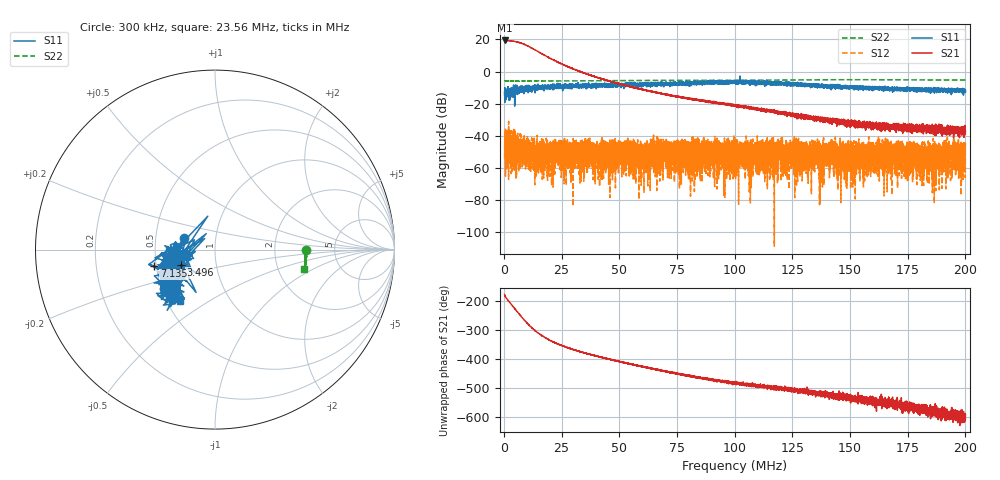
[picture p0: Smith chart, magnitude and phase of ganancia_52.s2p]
# Hz S DB R 50
! CMT, M5065, 19127446, 24.2.4/2
! Date: 11/8/2024 5:23:31 PM
! Data: Format (Calibration Info)
! Freq	S11:dB/Ang(F2)	S21:dB/Ang(F2)	S12:dB/Ang(F2)	S22:dB/Ang(F2)
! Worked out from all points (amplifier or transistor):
!   9000 points, 300 kHz to 200 MHz, reference 50 ohm
!   highest |S21| = 19.4 dB at 588.5 kHz (marker M1)
!   |S21| within 3 dB of that: start of sweep to 9.7 MHz
!   unconditionally stable (mu >= 1): start of sweep to end of sweep
!   at 33.59 MHz: K = 78.13, MAG = 1.7 dB, |S12| = -47.6 dB
!   at 100.2 MHz: K = 1627.38, MAG = -18.8 dB, |S12| = -54.0 dB
!   at 200 MHz: K = 3957.99, MAG = -35.2 dB, |S12| = -44.6 dB
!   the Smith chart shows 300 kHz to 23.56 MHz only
!   S11 on the Smith chart (normalised r, x): 300 kHz: 0.70, +0.09; 3.496 MHz: 0.67, -0.12; 7.135 MHz: 0.49, -0.10; 23.56 MHz: 0.58, -0.38
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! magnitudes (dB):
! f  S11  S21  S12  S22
! 300 kHz  -14.6  19.3  -54.2  -5.9
! 588.5 kHz  -14.4  19.4  -41.1  -5.9
! 1.365 MHz  -14.8  19.2  -50.2  -5.8
! 3.496 MHz  -13.5  19.0  -47.4  -5.9
! 7.135 MHz  -9.1  17.8  -57.9  -5.9
! 21.54 MHz  -8.9  7.2  -53.9  -5.8
! 23.56 MHz  -9.2  5.8  -45.2  -5.9
! 33.59 MHz  -8.6  -0.2  -47.6  -5.7
! 37.36 MHz  -9.4  -2.2  -53.5  -5.7
! 38.62 MHz  -8.2  -2.8  -50.1  -5.7
! 42.77 MHz  -7.5  -4.7  -46.6  -5.7
! 45.1 MHz  -9.6  -5.7  -47.4  -5.7
! 66.87 MHz  -7.1  -13.3  -63.6  -5.5
! 100.2 MHz  -6.4  -21.4  -54.0  -5.4
! 133.4 MHz  -9.3  -29.0  -51.7  -5.2
! 135.7 MHz  -9.6  -28.8  -46.2  -5.1
! 137.8 MHz  -7.7  -28.9  -46.7  -5.1
! 142.7 MHz  -10.1  -29.0  -57.0  -5.1
! 145.1 MHz  -9.6  -29.9  -49.8  -5.1
! 166.7 MHz  -10.7  -33.9  -55.8  -5.1
! 198 MHz  -11.1  -35.4  -48.5  -5.3
! 200 MHz  -11.8  -37.1  -44.6  -5.3
